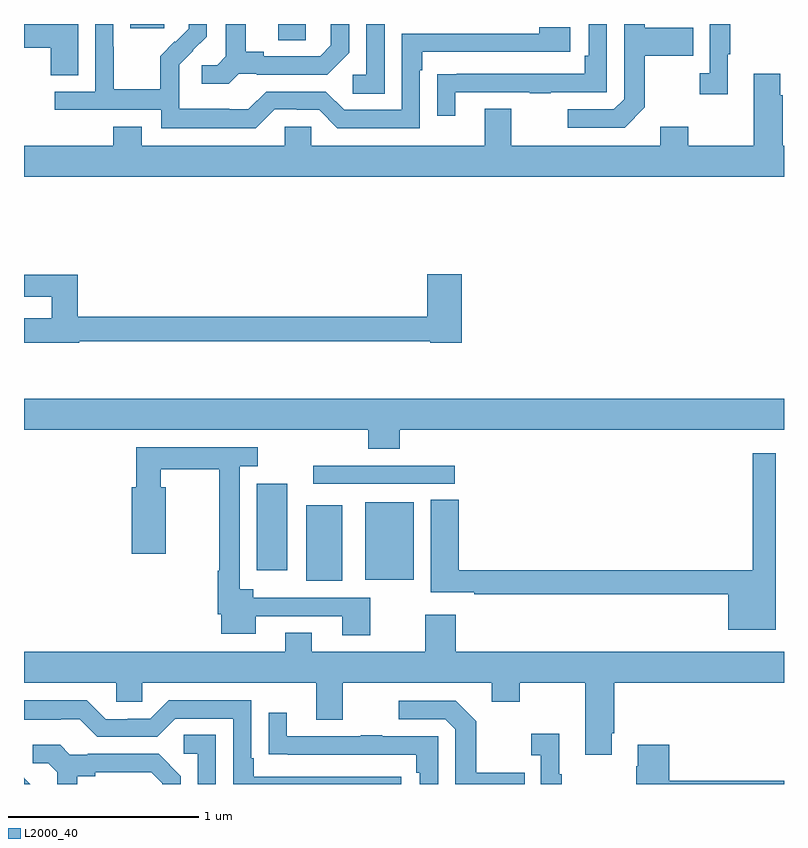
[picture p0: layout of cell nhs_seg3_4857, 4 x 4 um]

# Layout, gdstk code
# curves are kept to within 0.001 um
import gdstk
lib = gdstk.Library(unit=1e-6, precision=1e-09)
def R(c, l, rs):  # rectangles x0, y0, x1, y1
    for r in rs: c.add(gdstk.rectangle(r[:2], r[2:], *l))
def P(c, l, *ps):  # polygons
    for p in ps: c.add(gdstk.Polygon(p, *l))
L2000_40 = (2000, 40)

nhs_seg3_4857 = lib.new_cell('nhs_seg3_4857')
R(nhs_seg3_4857, L2000_40, [(374.486,685.469,374.674,685.867), (374.795,685.475,375.052,685.882), (374.225,685.524,374.386,685.981), (374.523,685.98,375.268,686.076), (374.339,688.315,374.484,688.4), (373.559,688.377,373.738,688.4)])
P(nhs_seg3_4857, L2000_40, [(374.898,688.4),(374.802,688.4),(374.802,688.134),(374.73,688.134),(374.73,688.033),(374.898,688.033)],
  [(376.705,688.241),(376.717,688.241),(376.717,688.4),(376.608,688.4),(376.608,688.142),(376.557,688.142),(376.557,688.029),(376.705,688.029)],
  [(375.271,688.041),(375.661,688.041),(375.661,688.036),(375.773,688.036),(375.773,688.041),(376.068,688.041),(376.068,688.4),(375.972,688.4),(375.972,688.234),(375.952,688.234),(375.952,688.137),(375.277,688.137),(375.277,688.136),(375.175,688.136),(375.175,687.918),(375.271,687.918)],
  [(374.319,687.951),(374.435,687.951),(374.435,687.948),(374.553,687.948),(374.649,687.852),(375.084,687.852),(375.084,688.157),(375.097,688.157),(375.097,688.254),(375.874,688.254),(375.874,688.384),(375.713,688.384),(375.713,688.35),(374.988,688.35),(374.988,687.948),(374.685,687.948),(374.589,688.044),(374.274,688.044),(374.181,687.951),(374.081,687.951),(374.081,687.955),(373.818,687.955),(373.818,688.089),(373.816,688.089),(373.816,688.186),(373.962,688.334),(373.962,688.4),(373.868,688.4),(373.868,688.376),(373.797,688.305),(373.794,688.308),(373.717,688.231),(373.717,688.057),(373.473,688.057),(373.473,688.28),(373.47,688.28),(373.47,688.4),(373.374,688.4),(373.374,688.044),(373.161,688.044),(373.161,687.948),(373.722,687.948),(373.722,687.851),(374.219,687.851)],
  [(376.267,687.961),(376.267,688.234),(376.523,688.234),(376.523,688.381),(376.267,688.381),(376.267,688.4),(376.158,688.4),(376.158,688.005),(376.104,687.951),(375.861,687.951),(375.861,687.855),(376.161,687.855)],
  [(373.285,688.4),(373,688.4),(373,688.276),(373.142,688.276),(373.142,688.129),(373.285,688.129)],
  [(374.13,688.137),(374.224,688.137),(374.224,688.134),(374.596,688.134),(374.712,688.25),(374.712,688.4),(374.615,688.4),(374.615,688.287),(374.558,688.23),(374.263,688.23),(374.263,688.253),(374.167,688.253),(374.167,688.4),(374.063,688.4),(374.063,688.229),(374.016,688.182),(373.935,688.182),(373.935,688.085),(374.078,688.085)],
  [(377,687.76),(376.994,687.76),(376.994,688.025),(376.981,688.025),(376.981,688.138),(376.841,688.138),(376.841,687.76),(376.497,687.76),(376.497,687.859),(376.349,687.859),(376.349,687.76),(375.565,687.76),(375.565,687.955),(375.425,687.955),(375.425,687.76),(374.511,687.76),(374.511,687.858),(374.373,687.858),(374.373,687.76),(373.621,687.76),(373.621,687.859),(373.469,687.859),(373.469,687.76),(373,687.76),(373,687.596),(377,687.596)],
  [(373.29,686.73),(375.138,686.73),(375.138,686.722),(375.305,686.722),(375.305,687.082),(375.122,687.082),(375.122,686.858),(373.283,686.858),(373.283,687.08),(373,687.08),(373,686.964),(373.147,686.964),(373.147,686.851),(373,686.851),(373,686.722),(373.29,686.722)],
  [(374.978,686.264),(377,686.264),(377,686.428),(373,686.428),(373,686.264),(374.813,686.264),(374.813,686.165),(374.978,686.165)],
  [(374.823,685.38),(374.206,685.38),(374.206,685.426),(374.136,685.426),(374.136,686.072),(374.23,686.072),(374.23,686.172),(373.591,686.172),(373.591,685.963),(373.568,685.963),(373.568,685.611),(373.746,685.611),(373.746,685.963),(373.72,685.963),(373.72,686.056),(374.028,686.056),(374.028,685.522),(374.02,685.522),(374.02,685.294),(374.039,685.294),(374.039,685.19),(374.221,685.19),(374.221,685.284),(374.675,685.284),(374.675,685.182),(374.823,685.182)],
  [(376.957,686.14),(376.836,686.14),(376.836,685.526),(375.287,685.526),(375.287,685.895),(375.14,685.895),(375.14,685.41),(375.37,685.41),(375.37,685.398),(376.706,685.398),(376.706,685.211),(376.957,685.211)],
  [(374.515,685.195),(374.375,685.195),(374.375,685.096),(373,685.096),(373,684.932),(373.485,684.932),(373.485,684.834),(373.623,684.834),(373.623,684.932),(374.537,684.932),(374.537,684.738),(374.677,684.738),(374.677,684.932),(375.461,684.932),(375.461,684.833),(375.609,684.833),(375.609,684.932),(375.953,684.932),(375.953,684.555),(376.093,684.555),(376.093,684.667),(376.106,684.667),(376.106,684.932),(377,684.932),(377,685.096),(375.272,685.096),(375.272,685.291),(375.112,685.291),(375.112,685.096),(374.515,685.096)],
  [(374.986,684.438),(374.209,684.438),(374.209,684.535),(374.196,684.535),(374.196,684.84),(373.761,684.84),(373.665,684.744),(373.547,684.744),(373.547,684.741),(373.431,684.741),(373.331,684.841),(373,684.841),(373,684.737),(373.193,684.737),(373.193,684.741),(373.293,684.741),(373.386,684.648),(373.701,684.648),(373.797,684.744),(374.1,684.744),(374.1,684.4),(374.986,684.4)],
  [(375.635,684.459),(375.379,684.459),(375.379,684.731),(375.273,684.837),(374.973,684.837),(374.973,684.741),(375.216,684.741),(375.27,684.687),(375.27,684.4),(375.635,684.4)],
  [(375.18,684.651),(374.885,684.651),(374.885,684.656),(374.773,684.656),(374.773,684.651),(374.383,684.651),(374.383,684.775),(374.287,684.775),(374.287,684.556),(374.389,684.556),(374.389,684.555),(375.064,684.555),(375.064,684.458),(375.084,684.458),(375.084,684.4),(375.18,684.4)],
  [(375.829,684.451),(375.817,684.451),(375.817,684.664),(375.669,684.664),(375.669,684.551),(375.72,684.551),(375.72,684.4),(375.829,684.4)],
  [(374.01,684.659),(373.842,684.659),(373.842,684.558),(373.914,684.558),(373.914,684.4),(374.01,684.4)],
  [(373.279,684.44),(373.375,684.44),(373.375,684.462),(373.67,684.462),(373.727,684.405),(373.727,684.4),(373.824,684.4),(373.824,684.442),(373.708,684.558),(373.336,684.558),(373.336,684.555),(373.242,684.555),(373.19,684.607),(373.047,684.607),(373.047,684.51),(373.128,684.51),(373.175,684.463),(373.175,684.4),(373.279,684.4)],
  [(377,684.416),(376.397,684.416),(376.397,684.607),(376.229,684.607),(376.229,684.494),(376.222,684.494),(376.222,684.4),(377,684.4)],
  [(373.001,684.431),(373.002,684.432),(373,684.434),(373,684.4),(373.032,684.4)])

lib.write_gds('nhs_seg3_4857.gds')
